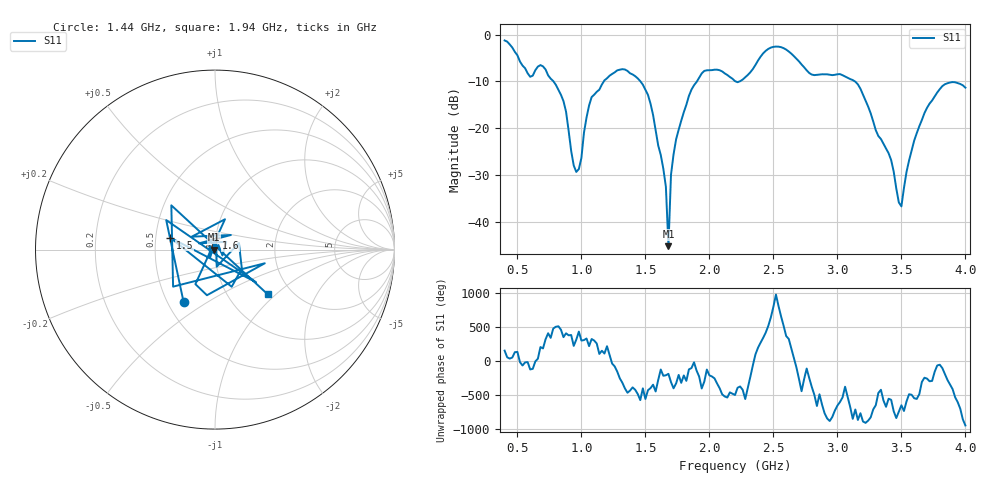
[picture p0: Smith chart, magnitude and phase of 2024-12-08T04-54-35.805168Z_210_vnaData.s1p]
!Created with skrf (http://scikit-rf.org).
# Hz S RI R 50.0
!freq ReS11 ImS11
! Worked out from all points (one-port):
!   181 points, 400 MHz to 4 GHz, reference 50 ohm
!   lowest |S11| = -45.2 dB at 1.68 GHz (marker M1), VSWR 1.01, Z = 49.5 + j0.0477 ohm
!   |S11| at or under -10 dB: 781.6 MHz to 1.175 GHz (393.5 MHz wide, 40.2 % of centre); 1.461 GHz to 1.903 GHz (441.6 MHz wide, 26.3 % of centre); 3.136 GHz to end of sweep (the widest 3 of 4)
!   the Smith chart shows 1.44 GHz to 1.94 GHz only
!   S11 on the Smith chart (normalised r, x): 1.44 GHz: 0.60, -0.40; 1.5 GHz: 0.60, +0.08; 1.6 GHz: 1.00, +0.13; 1.94 GHz: 1.52, -0.89
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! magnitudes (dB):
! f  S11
! 400 MHz  -1.3
! 600 MHz  -9.0
! 700 MHz  -6.8
! 860 MHz  -14.2
! 960 MHz  -29.3
! 1 GHz  -26.3
! 1.08 GHz  -13.3
! 1.3 GHz  -7.5
! 1.44 GHz  -9.4
! 1.5 GHz  -11.8
! 1.6 GHz  -23.7
! 1.66 GHz  -32.5
! 1.68 GHz  -45.2
! 1.7 GHz  -29.9
! 1.76 GHz  -20.3
! 1.94 GHz  -8.3
! 2.2 GHz  -10.0
! 2.48 GHz  -2.8
! 2.66 GHz  -4.6
! 2.8 GHz  -8.6
! 3.1 GHz  -9.5
! 3.18 GHz  -11.6
! 3.4 GHz  -25.3
! 3.5 GHz  -36.7
! 3.56 GHz  -26.9
! 3.68 GHz  -16.8
! 3.8 GHz  -11.7
! 4 GHz  -11.3
